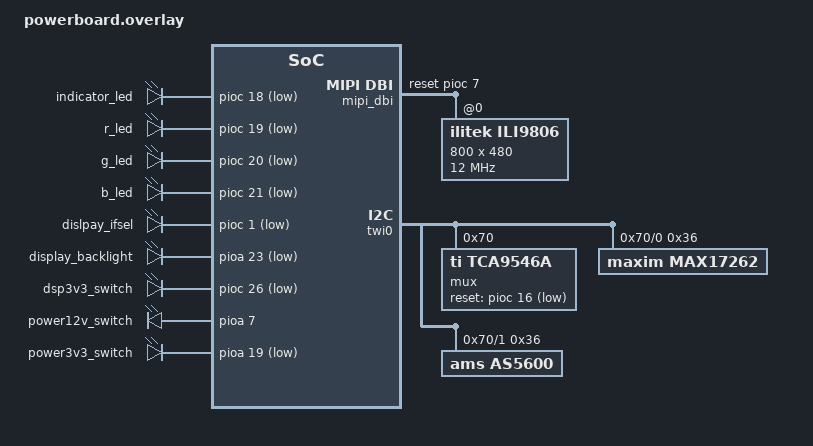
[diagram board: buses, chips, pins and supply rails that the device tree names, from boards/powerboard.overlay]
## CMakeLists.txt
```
cmake_minimum_required(VERSION 3.20.0)

# Add additional modules (before find_package)
# set(ZEPHYR_EXTRA_MODULES "${CMAKE_SOURCE_DIR}/../../drivers/i2c/tca954x")
# set(ZEPHYR_EXTRA_MODULES "${CMAKE_SOURCE_DIR}/../../modules/ili9806")
find_package(Zephyr REQUIRED HINTS $ENV{ZEPHYR_BASE})
project(powerboard)
# add_subdirectory(drivers)
target_sources(app PRIVATE src/main.c)
```

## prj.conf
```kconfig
# Needed for display and LVGL (prevent stack overflow and crash)
CONFIG_MAIN_STACK_SIZE=4096
CONFIG_BUILD_OUTPUT_HEX=y
CONFIG_GPIO=y
CONFIG_SENSOR=y

CONFIG_I2C=y
CONFIG_I2C_TCA954X=y
CONFIG_I2C_TCA954X_ROOT_INIT_PRIO=61
CONFIG_I2C_TCA954X_CHANNEL_INIT_PRIO=62

CONFIG_CBPRINTF_FP_SUPPORT=y
CONFIG_LOG=y
CONFIG_UART_INTERRUPT_DRIVEN=y

#! Display + GUI stuff
CONFIG_DISPLAY=y
# CONFIG_MIPI_DBI_SPI_3WIRE=y

# # Configure LVGL
CONFIG_LVGL=y
# CONFIG_LV_MEM_CUSTOM=y
CONFIG_LV_Z_BITS_PER_PIXEL=16
CONFIG_LV_COLOR_16_SWAP=y
CONFIG_LV_Z_MEM_POOL_SIZE=8192

# Enable LVGL widgets
CONFIG_LV_CONF_MINIMAL=y
CONFIG_LV_USE_LABEL=y
CONFIG_LV_LABEL_TEXT_SELECTION=y
CONFIG_LV_LABEL_LONG_TXT_HINT=y
CONFIG_LV_USE_LINE=y
```

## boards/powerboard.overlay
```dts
/* https: //docs.zephyrproject.org/latest/build/dts/intro-syntax-structure.html */

// #include <dt-bindings/usb-c/pd.h>
/ {
    chosen {
        zephyr,display = &ili9806;
        // zephyr,display = &ili9340;
    };
    aliases {
        indicator-led = &indicator_led;
        r-led = &r_led;
        g-led = &g_led;
        b-led = &b_led;
        display-backlight= &display_backlight;
        enable12v= &power12v_switch;
        enable3v3= &power3v3_switch;
        enable-display3v3= &dsp3v3_switch;
        display-ifsel = &dislpay_ifsel;
        // usbc-port0 = &port0;
    };

    leds {
        compatible = "gpio-leds";
        indicator_led: indicator_led {
            gpios = <&pioc 18 GPIO_ACTIVE_LOW>;
        };
        r_led: r_led {
            gpios = <&pioc 19 GPIO_ACTIVE_LOW>;
        };
        g_led: g_led {
            gpios = <&pioc 20 GPIO_ACTIVE_LOW>;
        };
        b_led: b_led {
            gpios = <&pioc 21 GPIO_ACTIVE_LOW>;
        };
        dislpay_ifsel: dislpay_ifsel {
            gpios = <&pioc 1 GPIO_ACTIVE_LOW>;
        };
        display_backlight: display_backlight{
            gpios = <&pioa 23 GPIO_ACTIVE_LOW>;
        };
        dsp3v3_switch: dsp3v3_switch {
            gpios = <&pioc 26 GPIO_ACTIVE_LOW>;
        };
        power12v_switch: power12v_switch {
            gpios = <&pioa 7 GPIO_ACTIVE_HIGH>;
        };
        power3v3_switch: power3v3_switch {
            gpios = <&pioa 19 GPIO_ACTIVE_LOW>;
        };
    };

    mipi_dbi {
        compatible = "zephyr,mipi-dbi-spi";
        status = "okay";
        reset-gpios = <&pioc 7 GPIO_ACTIVE_HIGH>;
        spi-dev = <&spi0>;
        #address-cells = <1>;
        #size-cells = <0>;

        ili9806: ili9806@0 {
            compatible = "ilitek,ili9806";
            status = "okay";
            reg = <0>;
            mipi-max-frequency = <12000000>;
            // mipi-cpha;
            // mipi-cpol;
            // mipi-hold-cs;
            mipi-mode = "MIPI_DBI_MODE_SPI_3WIRE";
            rotation = <270>;
            width = <800>;
            height = <480>;
        };
    };

};


// Enable TWI0 and add TCA954x I2C extender
&twi0 {
    pinctrl-0 = <&twi0_default>;                         // Use the custom pin configuration
    status = "okay";                                         // Enable I2C0 interface

    mux: tca9546a@70 {
        compatible = "ti,tca9546a";
        reg = <0x70>;
        status = "okay";
        // label = "i2c_mux";
        #address-cells = <1>;
        #size-cells = <0>;
        reset-gpios = <&pioc 16 GPIO_ACTIVE_LOW>;

        ch0: mux_i2c@0 {
            // label = "mux_dw_0";
            reg = <0>;
            status = "okay";
            #address-cells = <1>;
            #size-cells = <0>;
            compatible = "ti,tca9546a-channel";

            max17262@36 {
                compatible = "maxim,max17262";
                reg = <0x36>;
                design-voltage = <3600>;
                desired-voltage = <3600>;
                desired-charging-current = <2000>;
                design-cap = <17000>;
                empty-voltage = <3300>;
                recovery-voltage = <3880>;
                charge-voltage = <3600>;
                status = "okay";
            };
            // fusb307_tcpc0: fusb307_tcpc0@50 {
                //     compatible = "onnn,fusb307-tcpc";
                //     reg = <0x50>;
                //     irq-gpios = <&pioc 2 GPIO_ACTIVE_LOW>;
                //     status = "okay";
                //     fusb307_vbus0: fusb307_vbus0 {
                    //         compatible = "zephyr,usb-c-vbus-tcpci";
                    //         status = "okay";
                //     };
            // };
            // fusb: fusb302b@25 {
                //     compatible = "fcs,fusb302b";
                //     status = "okay";
                //     reg = <0x25>;
            // };
        };


        ch1: mux_i2c@1 {
            // label = "mux_dw_1";
            reg = <1>;
            status = "okay";
            #address-cells = <1>;
            #size-cells = <0>;
            compatible = "ti,tca9546a-channel";
            as5600@36 {
                compatible = "ams,as5600";
                reg = <0x36>;
            };
        };

    };
};
```

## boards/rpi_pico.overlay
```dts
/{

    chosen {
        zephyr,display = &ili9340;
        // zephyr,display = &st7735r_160x80;
    };
    aliases {
        indicator-led = &indicator_led;
        r-led = &r_led;
        g-led = &g_led;
        b-led = &b_led;
        display-backlight= &display_backlight;
        enable12v= &load_switch;
        // usbc-port0 = &port0;
    };

    leds {
        compatible = "gpio-leds";
        indicator_led: indicator_led {
            gpios = <&gpio0 18 GPIO_ACTIVE_LOW>;
        };
        r_led: r_led {
            gpios = <&gpio0 19 GPIO_ACTIVE_LOW>;
        };
        g_led: g_led {
            gpios = <&gpio0 20 GPIO_ACTIVE_LOW>;
        };
        b_led: b_led {
            gpios = <&gpio0 21 GPIO_ACTIVE_LOW>;
        };
        display_backlight: display_backlight{
            gpios = <&gpio0 23 GPIO_ACTIVE_LOW>;
        };
        load_switch: load_switch {
            gpios = <&gpio0 7 GPIO_ACTIVE_HIGH>;
        };
    };
    mipi_dbi {
        compatible = "zephyr,mipi-dbi-spi";
        reset-gpios = <&gpio0 7 GPIO_ACTIVE_LOW>;
        // dc-gpios = <&gpio0 18 GPIO_ACTIVE_HIGH>;
        spi-dev = <&spi0>;
        #address-cells = <1>;
        #size-cells = <0>;
        ili9340: ili9340@0 {
            compatible = "ilitek,ili9340";
            status = "okay";
            reg = <0>;
            mipi-max-frequency = <16000000>;
            mipi-mode = <1>;
            rotation = <270>;
            width = <800>;
            height = <480>;
        };
        // st7735r_160x80: st7735r@0 {
            //     compatible = "sitronix,st7735r";
            //     reg = <0>;
            //     mipi-max-frequency = <20000000>;
            //     mipi-mode = <2>;
            //     reg = <0>;
            //     width = <160>;
            //     height = <80>;
            //     inversion-on;
            //     rgb-is-inverted;
            //     x-offset = <1>;
            //     y-offset = <26>;
            //     pwctr1 = [ A2 02 84  ];
            //     pwctr2 = [ C5  ];
            //     pwctr3 = [ 0A 00  ];
            //     pwctr4 = [ 8A 2A  ];
            //     pwctr5 = [ 8A EE  ];
            //     invctr = <7>;
            //     frmctr1 = [ 01 2C 2D  ];
            //     frmctr2 = [ 01 2C 2D  ];
            //     frmctr3 = [ 01 2C 2D 01 2C 2D  ];
            //     vmctr1 = <14>;
            //     gamctrp1 = [ 02 1C 07 12 37 32 29 2D 29 25 2B 39 00 01 03 10  ];
            //     gamctrn1 = [ 03 1D 07 06 2E 2C 29 2D 2E 2E 37 3F 00 00 02 10  ];
            //     colmod = <5>;
            //     /* Set D3 (RGB) bit to 1. LV_COLOR_16_SWAP is enabled by default */
            //     madctl = <184>; /* Set to <120> to rotate the image 180 degrees. */
            //     caset = [ 00 01 00 a0  ];
            //     raset = [ 00 1a 00 69  ];
        // };
    };
};

&i2c0 {
    pinctrl-0 = <&i2c0_default>;                         // Use the custom pin configuration
    status = "okay";                                         // Enable I2C0 interface

    mux: tca9546a@70 {
        compatible = "ti,tca9546a";
        reg = <0x70>;
        status = "okay";
        // label = "i2c_mux";
        #address-cells = <1>;
        #size-cells = <0>;
        reset-gpios = <&gpio0 16 GPIO_ACTIVE_LOW>;

        ch0: mux_i2c@0 {
            // label = "mux_dw_0";
            reg = <0>;
            status = "okay";
            #address-cells = <1>;
            #size-cells = <0>;
            compatible = "ti,tca9546a-channel";

            max17262@36 {
                compatible = "maxim,max17262";
                reg = <0x36>;
                design-voltage = <3600>;
                desired-voltage = <3600>;
                desired-charging-current = <2000>;
                design-cap = <17000>;
                empty-voltage = <3300>;
                recovery-voltage = <3880>;
                charge-voltage = <3600>;
                status = "okay";
            };
            // fusb307_tcpc0: fusb307_tcpc0@50 {
                //     compatible = "onnn,fusb307-tcpc";
                //     reg = <0x50>;
                //     irq-gpios = <&pioc 2 GPIO_ACTIVE_LOW>;
                //     status = "okay";
                //     fusb307_vbus0: fusb307_vbus0 {
                    //         compatible = "zephyr,usb-c-vbus-tcpci";
                    //         status = "okay";
                //     };
            // };
            // fusb: fusb302b@25 {
                //     compatible = "fcs,fusb302b";
                //     status = "okay";
                //     reg = <0x25>;
            // };
        };


        ch1: mux_i2c@1 {
            // label = "mux_dw_1";
            reg = <1>;
            status = "okay";
            #address-cells = <1>;
            #size-cells = <0>;
            compatible = "ti,tca9546a-channel";
            as5600@36 {
                compatible = "ams,as5600";
                reg = <0x36>;
            };
        };

    };
};
```

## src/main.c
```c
#include <stdio.h>
#include <zephyr/kernel.h>
#include <zephyr/device.h>
#include <zephyr/devicetree.h>
#include <zephyr/drivers/gpio.h>
#include <zephyr/drivers/sensor.h>

#include <zephyr/drivers/display.h>
#include <lvgl.h>

// Settings
static const int32_t sleep_time_ms = 50; // Target 20 FPS

int main(void)
{

	uint32_t count = 0;
	char buf[11] = {0};
	lv_obj_t *hello_label;
	lv_obj_t *counter_label;
	lv_obj_t *rect;
	lv_obj_t *circle;
	lv_style_t rect_style;
	lv_style_t circle_style;
	lv_point_t rect_points[5] = {{0, 0}, {120, 0}, {120, 20}, {0, 20}, {0, 0}};
	const uint32_t circle_radius = 15;

	int ret;
	bool led_state = true;

	const struct device *const fuel_gauge = DEVICE_DT_GET_ONE(maxim_max17262);
	const struct device *const encoder = DEVICE_DT_GET_ONE(ams_as5600);
	
	const struct device *display = DEVICE_DT_GET(DT_CHOSEN(zephyr_display));

	static const struct gpio_dt_spec display_ifsel = GPIO_DT_SPEC_GET(DT_ALIAS(display_ifsel), gpios);
	static const struct gpio_dt_spec display_backlight = GPIO_DT_SPEC_GET(DT_ALIAS(display_backlight), gpios);
	static const struct gpio_dt_spec power12v_switch = GPIO_DT_SPEC_GET(DT_ALIAS(enable12v), gpios);
	static const struct gpio_dt_spec power3v3_switch = GPIO_DT_SPEC_GET(DT_ALIAS(enable3v3), gpios);
	static const struct gpio_dt_spec power_dsp3v3_switch = GPIO_DT_SPEC_GET(DT_ALIAS(enable_display3v3), gpios);

	if (!gpio_is_ready_dt(&power12v_switch))
	{
		return 0;
	}

	ret = gpio_pin_configure_dt(&power12v_switch, GPIO_OUTPUT_ACTIVE);
	if (ret < 0)
	{
		return 0;
	}

	if (!gpio_is_ready_dt(&power3v3_switch))
	{
		return 0;
	}

	ret = gpio_pin_configure_dt(&power3v3_switch, GPIO_OUTPUT_ACTIVE);
	if (ret < 0)
	{
		return 0;
	}

	if (!gpio_is_ready_dt(&display_ifsel))
	{
		return 0;
	}

	ret = gpio_pin_configure_dt(&display_ifsel, GPIO_OUTPUT_ACTIVE);
	if (ret < 0)
	{
		return 0;
	}

	if (!gpio_is_ready_dt(&power_dsp3v3_switch))
	{
		return 0;
	}

	ret = gpio_pin_configure_dt(&power_dsp3v3_switch, GPIO_OUTPUT_ACTIVE);
	if (ret < 0)
	{
		return 0;
	}

	if (!gpio_is_ready_dt(&display_backlight))
	{
		return 0;
	}

	ret = gpio_pin_configure_dt(&display_backlight, 	GPIO_OUTPUT_INACTIVE);
	if (ret < 0)
	{
		return 0;
	}
	gpio_pin_set_dt(&display_backlight, 1);

	if (!device_is_ready(fuel_gauge))
	{
		printk("fuel gauge: device not ready.\n");
		return 0;
	}
	if (!device_is_ready(encoder))
	{
		printk("encoder: device not ready.\n");
		return 0;
	}

	if (!device_is_ready(display))
	{
		printk("Error: display not ready\r\n");
		return 0;
	}

	// Create a static label widget
	hello_label = lv_label_create(lv_scr_act());
	lv_label_set_text(hello_label, "Hello, World!");
	lv_obj_align(hello_label, LV_ALIGN_TOP_MID, 0, 5);

	// Create a dynamic label widget
	counter_label = lv_label_create(lv_scr_act());
	lv_obj_align(counter_label, LV_ALIGN_BOTTOM_MID, 0, 0);

	// Set line style
	lv_style_init(&rect_style);
	lv_style_set_line_color(&rect_style, lv_color_hex(0x0000FF));
	lv_style_set_line_width(&rect_style, 3);

	// Create a rectangle out of lines
	rect = lv_line_create(lv_scr_act());
	lv_obj_add_style(rect, &rect_style, 0);
	lv_line_set_points(rect,
					   rect_points,
					   sizeof(rect_points) / sizeof(rect_points[0]));
	lv_obj_align(rect, LV_ALIGN_TOP_MID, 0, 0);

	// Set circle style
	lv_style_init(&circle_style);
	lv_style_set_radius(&circle_style, circle_radius);
	lv_style_set_bg_opa(&circle_style, LV_OPA_100);
	lv_style_set_bg_color(&circle_style, lv_color_hex(0xFF0000));

	// Create an object with the new style
	circle = lv_obj_create(lv_scr_act());
	lv_obj_set_size(circle, circle_radius * 2, circle_radius * 2);
	lv_obj_add_style(circle, &circle_style, 0);
	lv_obj_align(circle, LV_ALIGN_CENTER, 0, 5);

	// Disable display blanking
	display_blanking_off(display);

	while (1)
	{
		struct sensor_value voltage, avg_current, temperature;
		float i_avg;

		sensor_sample_fetch(fuel_gauge);
		sensor_channel_get(fuel_gauge, SENSOR_CHAN_GAUGE_VOLTAGE, &voltage);
		sensor_channel_get(fuel_gauge, SENSOR_CHAN_GAUGE_AVG_CURRENT,
						   &avg_current);
		sensor_channel_get(fuel_gauge, SENSOR_CHAN_GAUGE_TEMP, &temperature);

		i_avg = avg_current.val1 + (avg_current.val2 / 1000000.0);

		// printk("V: %d.%06d V; I: %f mA; T: %d.%06d °C\n",
		// 	   voltage.val1, voltage.val2, (double)i_avg,
		// 	   temperature.val1, temperature.val2);

		// Update counter label every second
		count++;
		if ((count % (1000 / sleep_time_ms)) == 0) {
				sprintf(buf, "%d", count / (1000 / sleep_time_ms));
				lv_label_set_text(counter_label, buf);
		}

		// Must be called periodically
		lv_task_handler();
		k_sleep(K_MSEC(sleep_time_ms));
	}
	return 0;
}
```
